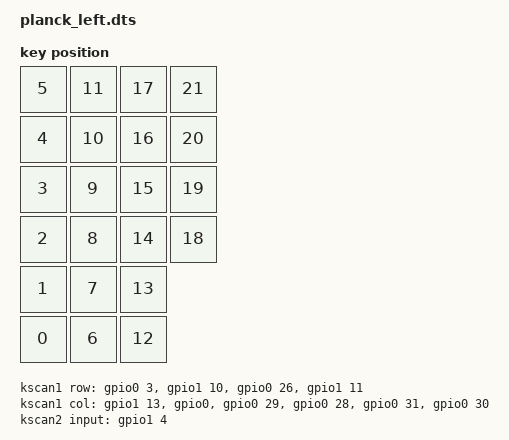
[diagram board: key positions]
#include "planck.dtsi"
#include <dt-bindings/led/led.h>

/ {
	EXT_POWER {
		compatible = "zmk,ext-power-generic";
		control-gpios = <&gpio1 6 GPIO_ACTIVE_HIGH>;
		init-delay-ms = <50>;
	};
};

&pinctrl {
    spi2_default: spi2_default {
				group1 {
						psels = <NRF_PSEL(SPIM_MOSI, 0, 20)>,
						<NRF_PSEL(SPIM_SCK, 0, 24)>;
				};
		};
	
    spi2_sleep: spi2_sleep {
				group1 {
						psels = <NRF_PSEL(SPIM_MOSI, 0, 20)>,
						<NRF_PSEL(SPIM_SCK, 0, 24)>;
						low-power-enable;
				};
		};

    spi3_default: spi3_default {
				group1 {
						psels = <NRF_PSEL(SPIM_MOSI, 0, 13)>;
				};
		};
	
    spi3_sleep: spi3_sleep {
				group1 {
						psels = <NRF_PSEL(SPIM_MOSI, 0, 13)>;
						low-power-enable;
				};
		};
};


lpm_view_spi: &spi2 {
    compatible = "nordic,nrf-spim";
    pinctrl-0 = <&spi2_default>;
    pinctrl-1 = <&spi2_sleep>;
    pinctrl-names = "default", "sleep";
    cs-gpios = <&gpio0 22 (GPIO_ACTIVE_HIGH | GPIO_PULL_DOWN) >;
};

nice_view_spi: &spi2 {
    compatible = "nordic,nrf-spim";
    pinctrl-0 = <&spi2_default>;
    pinctrl-1 = <&spi2_sleep>;
    pinctrl-names = "default", "sleep";
    cs-gpios = <&gpio0 22 (GPIO_ACTIVE_HIGH | GPIO_PULL_DOWN) >;
};


&spi3 {
	compatible = "nordic,nrf-spim";
	status = "okay";
	pinctrl-0 = <&spi3_default>;
	pinctrl-1 = <&spi3_sleep>;
	pinctrl-names = "default", "sleep";

	led_strip: ws2812@0 {
				compatible ="worldsemi,ws2812-spi";
        /* SPI */
        reg = <0>; /* ignored, but necessary for SPI bindings */
        spi-max-frequency = <4000000>;

        /* WS2812 */
        chain-length = <28>; /* arbitrary; change at will */
        spi-one-frame = <0x70>;
        spi-zero-frame = <0x40>;

        color-mapping = <LED_COLOR_ID_GREEN LED_COLOR_ID_RED LED_COLOR_ID_BLUE>;
		};
};
&left_encoder {
    status = "okay";
};

&sensors {
	sensors = <&left_encoder>;
};

/ {
	chosen {
		zmk,physical-layout = &left_physical_layout;
    zmk,underglow = &led_strip;
	};

	// 左板：整体逆时针旋转 90°（4 列 x 6 行）。
	// new_x = row, new_y = (6-1) - col。位置顺序同 default_transform。
	left_physical_layout: left_physical_layout {
		compatible = "zmk,physical-layout";
		display-name = "PlanckKeys Left";
		transform = <&default_transform>;
		kscan = <&kscan0>;
		keys  //                     w   h    x    y   rot   rx   ry
			= <&key_physical_attrs 100 100    0  500     0    0    0>
			, <&key_physical_attrs 100 100    0  400     0    0    0>
			, <&key_physical_attrs 100 100    0  300     0    0    0>
			, <&key_physical_attrs 100 100    0  200     0    0    0>
			, <&key_physical_attrs 100 100    0  100     0    0    0>
			, <&key_physical_attrs 100 100    0    0     0    0    0>
			, <&key_physical_attrs 100 100  100  500     0    0    0>
			, <&key_physical_attrs 100 100  100  400     0    0    0>
			, <&key_physical_attrs 100 100  100  300     0    0    0>
			, <&key_physical_attrs 100 100  100  200     0    0    0>
			, <&key_physical_attrs 100 100  100  100     0    0    0>
			, <&key_physical_attrs 100 100  100    0     0    0    0>
			, <&key_physical_attrs 100 100  200  500     0    0    0>
			, <&key_physical_attrs 100 100  200  400     0    0    0>
			, <&key_physical_attrs 100 100  200  300     0    0    0>
			, <&key_physical_attrs 100 100  200  200     0    0    0>
			, <&key_physical_attrs 100 100  200  100     0    0    0>
			, <&key_physical_attrs 100 100  200    0     0    0    0>
			, <&key_physical_attrs 100 100  300  300     0    0    0>
			, <&key_physical_attrs 100 100  300  200     0    0    0>
			, <&key_physical_attrs 100 100  300  100     0    0    0>
			, <&key_physical_attrs 100 100  300    0     0    0    0>
			;
	};

		kscan0: kscan_composite {
        compatible = "zmk,kscan-composite";
        rows = <4>;
        columns = <12>;
        wakeup-source;
        // Include the matrix driver
        matrix {
            kscan = <&kscan1>;
        };

        // Include the direct GPIO driver...
        direct {
            kscan = <&kscan2>;
						row-offset=<3>;
            col-offset = <2>; // ...and shift it to not overlap
        };
    };
    kscan1: kscan {
        compatible = "zmk,kscan-gpio-matrix";
        wakeup-source;

        diode-direction = "col2row";
        row-gpios
            = <&gpio0 3 (GPIO_ACTIVE_HIGH | GPIO_PULL_DOWN)>
            , <&gpio1 10 (GPIO_ACTIVE_HIGH | GPIO_PULL_DOWN)>
            , <&gpio0 26  (GPIO_ACTIVE_HIGH | GPIO_PULL_DOWN)>
            , <&gpio1 11 (GPIO_ACTIVE_HIGH | GPIO_PULL_DOWN)>
            ;

    col-gpios
        =     <&gpio1 13 (GPIO_ACTIVE_HIGH)>
            , <&gpio0  2(GPIO_ACTIVE_HIGH)>
            , <&gpio0 29 (GPIO_ACTIVE_HIGH)>
            , <&gpio0 28 (GPIO_ACTIVE_HIGH)>
            , <&gpio0  31  (GPIO_ACTIVE_HIGH)>
            , <&gpio0 30 (GPIO_ACTIVE_HIGH)>;
     
    };
	 kscan2: kscan_direct {
        compatible = "zmk,kscan-gpio-direct";
				wakeup-source;
				input-gpios = 
							<&gpio1 4 (GPIO_ACTIVE_LOW | GPIO_PULL_UP)>;
    };
};
